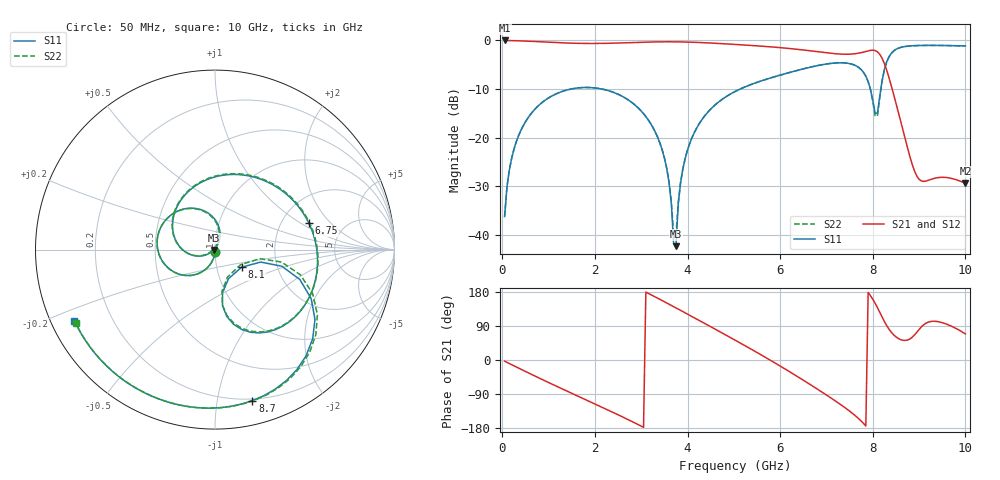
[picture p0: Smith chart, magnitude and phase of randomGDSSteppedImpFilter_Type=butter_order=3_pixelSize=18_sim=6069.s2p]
! freq	dB(S11)	phase(S11)	dB(S12)	phase(S12)
!  dB(S21)	phase(S21)	dB(S22)	phase(S22)
!S-par simulation data
#  GHz  S  DB  R 50
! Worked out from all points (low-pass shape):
!   200 points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, 50 MHz to 10 GHz, reference 50 ohm
!   highest |S21| = -0.01 dB at 50 MHz (marker M1); lowest = -29.4 dB at 10 GHz (marker M2)
!   |S21| within 3 dB of the highest: start of sweep to 8.16 GHz
!   lowest |S11| = -42.4 dB at 3.75 GHz (marker M3), VSWR 1.02, Z = 49.3 - j0.234 ohm
!   |S11| at or under -10 dB: start of sweep to 1.487 GHz; 2.147 GHz to 5.139 GHz (2.993 GHz wide, 82.2 % of centre); 7.949 GHz to 8.174 GHz (225 MHz wide, 2.79 % of centre)
!   |S22| runs from -40.1 to -1.0 dB; largest |S21 - S12| = 0
!   S11 on the Smith chart (normalised r, x): 50 MHz: 1.00, -0.03; 6.75 GHz: 2.83, +1.18; 8.1 GHz: 1.32, -0.27; 8.7 GHz: 0.19, -1.26; 10 GHz: 0.07, -0.24
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0.05  -36.26 -92.8  -0.01 -3.1  -0.01 -3.1  -36.26 -92.8
0.2  -24.36 -102.3  -0.04 -12.2  -0.04 -12.2  -24.35 -102.3
0.5  -16.76 -120.8  -0.13 -30.2  -0.13 -30.2  -16.76 -120.7
1.75  -9.70 167.5  -0.62 -101.8  -0.62 -101.8  -9.69 168.0
2.7  -12.13 113.2  -0.47 -156.3  -0.47 -156.3  -12.12 114.3
3.4  -21.05 71.4  -0.29 160.2  -0.29 160.2  -21.02 74.3
3.6  -29.20 62.2  -0.28 147.3  -0.28 147.3  -29.06 68.8
3.7  -41.92 79.6  -0.29 140.8  -0.29 140.8  -39.82 97.4
3.75  -42.36 -161.8  -0.29 137.5  -0.29 137.5  -40.12 -179.9
3.85  -29.31 -146.3  -0.31 131.0  -0.31 131.0  -29.16 -151.4
4.05  -21.15 -155.8  -0.35 117.8  -0.35 117.8  -21.13 -157.1
5.05  -10.41 138.8  -0.84 50.8  -0.84 50.8  -10.40 140.0
5.85  -7.57 82.9  -1.36 -5.0  -1.36 -5.0  -7.56 84.9
6.7  -5.40 19.6  -2.20 -68.7  -2.20 -68.7  -5.40 21.7
6.75  -5.30 15.7  -2.26 -72.6  -2.26 -72.6  -5.29 17.9
7.55  -4.89 -48.6  -2.80 -139.7  -2.80 -139.7  -4.89 -47.1
7.9  -8.45 -80.0  -2.15 178.2  -2.15 178.2  -8.50 -79.6
8.1  -15.00 -33.4  -2.34 138.4  -2.34 138.4  -15.63 -30.6
8.35  -3.36 -34.9  -7.66 81.4  -7.66 81.4  -3.40 -32.4
8.7  -1.24 -76.1  -20.26 51.6  -20.26 51.6  -1.25 -74.4
9  -1.04 -98.6  -28.60 80.7  -28.60 80.7  -1.05 -97.2
10  -1.13 -153.1  -29.42 68.8  -29.42 68.8  -1.13 -152.2
